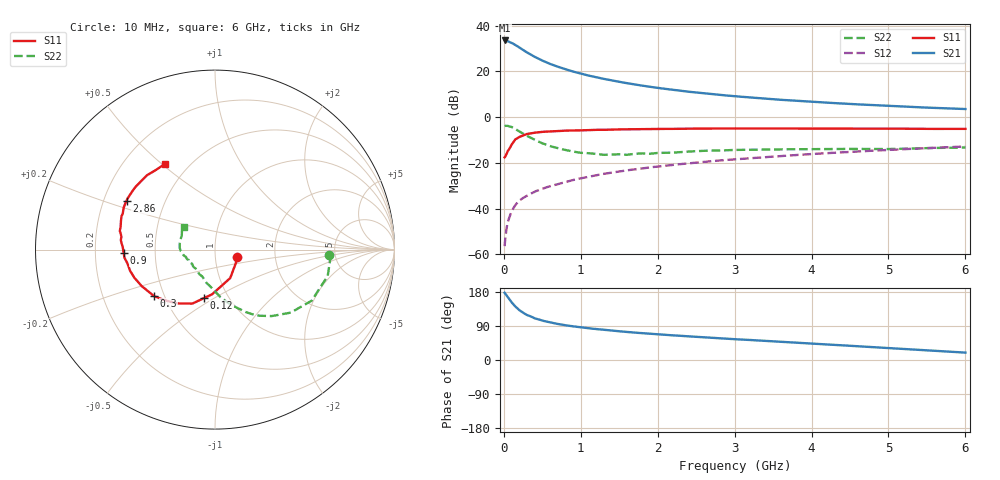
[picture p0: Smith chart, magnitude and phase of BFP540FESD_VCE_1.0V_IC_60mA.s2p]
! Infineon Technologies  Discrete & RF Semiconductors
! BFP540FESD
! VCE =  1.0 V,  IC =  60 mA
! Common Emitter S-Parameters:  Nov 2015
# GHz  S  MA  R  50
!  f  S11  S21  S12  S22
! GHz  MAG  ANG  MAG  ANG  MAG  ANG  MAG  ANG
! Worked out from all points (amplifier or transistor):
!   210 points, 10 MHz to 6 GHz, reference 50 ohm
!   highest |S21| = 33.5 dB at 10 MHz (marker M1)
!   |S21| within 3 dB of that: start of sweep to 198 MHz
!   unconditionally stable (mu >= 1): start of sweep to 77.88 MHz; 664.5 MHz to end of sweep
!   at 185 MHz: K = 0.74, MSG = 34.0 dB, |S12| = -37.1 dB
!   at 1.52 GHz: K = 1.13, MAG = 17.3 dB, |S12| = -23.7 dB
!   at 6 GHz: K = 1.24, MAG = 5.3 dB, |S12| = -12.9 dB
!   S11 on the Smith chart (normalised r, x): 10 MHz: 1.28, -0.11; 120 MHz: 0.77, -0.45; 300 MHz: 0.44, -0.28; 900 MHz: 0.33, -0.02; 2.86 GHz: 0.30, +0.24; 6 GHz: 0.37, +0.51
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0.01  0.132 -18.5  47.54 177.4  0.0015 110.8  0.6379 -2.8
0.02  0.1393 -34.5  45.9 174.8  0.0023 101.5  0.6455 -3.4
0.05  0.1799 -61.9  45.91 166.2  0.005 84.3  0.6449 -13.1
0.1  0.2495 -93.7  42.43 152.3  0.0085 75.9  0.6095 -27.8
0.12  0.2763 -102.5  40.51 148.0  0.0099 75.1  0.5825 -32.3
0.15  0.326 -112.7  38.11 140.9  0.0119 74.3  0.5494 -39.7
0.2  0.3665 -125.1  33.49 131.8  0.0148 70.3  0.487 -49.5
0.26  0.4046 -136.9  28.74 123.6  0.0174 66.4  0.4257 -58.8
0.3  0.4273 -142.8  26.07 118.8  0.019 66.3  0.3884 -63.7
0.4  0.4564 -153.6  20.87 110.1  0.0233 65.4  0.3185 -74.2
0.5  0.476 -160.8  17.26 103.8  0.0271 65.5  0.2674 -83.4
0.6  0.4877 -166.1  14.6 99.1  0.0307 65.4  0.2322 -90.1
0.7  0.4939 -171.1  12.68 95.1  0.034 65.9  0.209 -96.5
0.9  0.5093 -178.0  9.918 88.8  0.042 67.2  0.1765 -109.8
1.02  0.514 178.6  8.77 85.8  0.0466 66.2  0.1646 -116.9
1.5  0.5406 169.0  5.896 75.8  0.0647 64.7  0.1536 -142.8
2.02  0.5531 160.4  4.31 67.5  0.0835 61.6  0.1646 -161.4
2.86  0.563 151.1  3.007 56.7  0.1144 56.6  0.1869 -176.4
3.1  0.5638 148.8  2.777 53.9  0.1222 55.0  0.1924 -178.8
4.1  0.5632 140.7  2.118 42.1  0.1591 47.9  0.1997 169.7
5.1  0.5593 131.4  1.735 30.2  0.1953 39.0  0.202 156.5
6  0.5527 120.6  1.502 19.5  0.2275 30.7  0.2158 143.4
